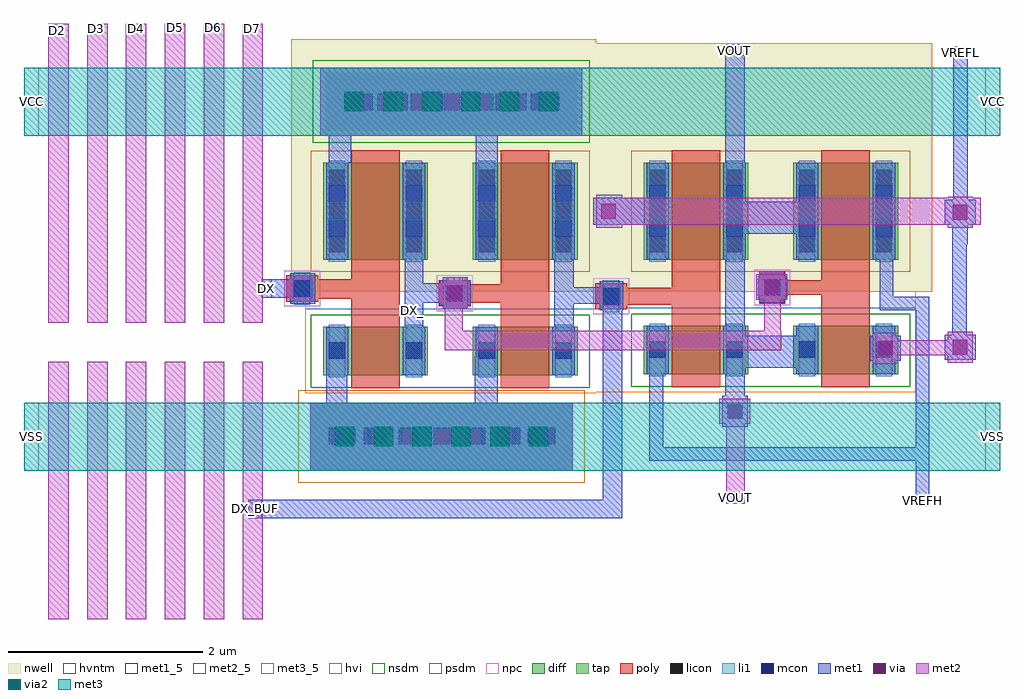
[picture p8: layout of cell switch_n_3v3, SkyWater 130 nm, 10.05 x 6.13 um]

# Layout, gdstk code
import gdstk
lib = gdstk.Library(unit=1e-6, precision=1e-09)
def R(c, l, rs):  # rectangles x0, y0, x1, y1
    for r in rs: c.add(gdstk.rectangle(r[:2], r[2:], *l))
def A(c, l, x, y, w, h, nx, ny, dx, dy):  # array of equal rectangles
    R(c, l, [(x+i*dx, y+j*dy, x+i*dx+w, y+j*dy+h) for i in range(nx) for j in range(ny)])
nwell = (64, 20)
diff = (65, 20)
tap = (65, 44)
poly = (66, 20)
licon = (66, 44)
li1 = (67, 20)
mcon = (67, 44)
met1_5 = (68, 5)
met1 = (68, 20)
via = (68, 44)
met2_5 = (69, 5)
met2 = (69, 20)
via2 = (69, 44)
met3_5 = (70, 5)
met3 = (70, 20)
hvi = (75, 20)
nsdm = (93, 44)
psdm = (94, 20)
npc = (95, 20)
hvntm = (125, 20)

switch_n_3v3 = lib.new_cell('switch_n_3v3')
R(switch_n_3v3, nwell, [(-31.91,-1.58,-25.31,0.98), (-31.91,0.98,-28.77,1.02)])
R(switch_n_3v3, diff, [(-31.58,-2.44,-30.5,-1.94), (-30.04,-2.44,-28.96,-1.94), (-28.28,-2.43,-27.2,-1.93), (-26.74,-2.43,-25.66,-1.93), (-31.58,-1.25,-30.5,-0.25), (-30.04,-1.25,-28.96,-0.25), (-28.28,-1.25,-27.2,-0.25), (-26.74,-1.25,-25.66,-0.25)])
R(switch_n_3v3, tap, [(-31.71,-3.42,-29.01,-2.72), (-31.56,0.08,-28.96,0.68)])
R(switch_n_3v3, poly, [(-31.29,-2.57,-30.79,-1.65), (-29.75,-2.57,-29.25,-1.69), (-27.99,-2.56,-27.49,-1.71), (-26.45,-2.56,-25.95,-1.61), (-28.78,-1.76,-28.45,-1.71), (-30.39,-1.73,-30.06,-1.69), (-28.78,-1.71,-27.49,-1.54), (-27.09,-1.7,-26.82,-1.61), (-30.39,-1.69,-29.25,-1.5), (-31.96,-1.68,-31.63,-1.65), (-31.96,-1.65,-30.79,-1.45), (-27.09,-1.61,-25.95,-1.46), (-28.78,-1.54,-28.45,-1.49), (-27.99,-1.54,-27.49,-0.12), (-30.39,-1.5,-30.06,-1.46), (-29.75,-1.5,-29.25,-0.12), (-27.09,-1.46,-26.82,-1.37), (-26.45,-1.46,-25.95,-0.12), (-31.96,-1.45,-31.63,-1.41), (-31.29,-1.45,-30.79,-0.12)])
A(switch_n_3v3, licon, -31.46, -3.15, 0.17, 0.17, 7, 1, 0.34, 0)
A(switch_n_3v3, licon, -31.52, -1.17, 0.17, 0.17, 1, 3, 0, 0.34)
A(switch_n_3v3, licon, -30.73, -1.17, 0.17, 0.17, 1, 3, 0, 0.34)
A(switch_n_3v3, licon, -29.98, -1.17, 0.17, 0.17, 1, 3, 0, 0.34)
A(switch_n_3v3, licon, -29.19, -1.17, 0.17, 0.17, 1, 3, 0, 0.34)
A(switch_n_3v3, licon, -28.22, -1.17, 0.17, 0.17, 1, 3, 0, 0.34)
A(switch_n_3v3, licon, -27.43, -1.17, 0.17, 0.17, 1, 3, 0, 0.34)
A(switch_n_3v3, licon, -26.68, -1.17, 0.17, 0.17, 1, 3, 0, 0.34)
A(switch_n_3v3, licon, -25.89, -1.17, 0.17, 0.17, 1, 3, 0, 0.34)
A(switch_n_3v3, licon, -31.36, 0.29, 0.17, 0.17, 7, 1, 0.34, 0)
R(switch_n_3v3, licon, [(-31.52,-2.27,-31.35,-2.1), (-30.73,-2.27,-30.56,-2.1), (-29.98,-2.27,-29.81,-2.1), (-29.19,-2.27,-29.02,-2.1), (-28.22,-2.26,-28.05,-2.09), (-27.43,-2.26,-27.26,-2.09), (-26.68,-2.26,-26.51,-2.09), (-25.89,-2.26,-25.72,-2.09), (-28.7,-1.71,-28.53,-1.54), (-30.31,-1.68,-30.14,-1.51), (-31.88,-1.63,-31.71,-1.46), (-27.04,-1.62,-26.87,-1.45)])
R(switch_n_3v3, li1, [(-31.71,-3.42,-29.01,-2.72), (-31.52,-2.46,-31.35,-1.92), (-30.73,-2.46,-30.56,-1.92), (-29.98,-2.46,-29.81,-1.92), (-29.19,-2.46,-29.02,-1.92), (-28.22,-2.45,-28.05,-1.91), (-27.43,-2.45,-27.26,-1.91), (-26.68,-2.45,-26.51,-1.91), (-25.89,-2.45,-25.72,-1.91), (-28.7,-1.79,-28.53,-1.71), (-30.31,-1.76,-30.14,-1.69), (-31.88,-1.71,-31.71,-1.64), (-28.7,-1.71,-28.52,-1.53), (-30.32,-1.69,-30.12,-1.49), (-31.89,-1.64,-31.69,-1.45), (-27.12,-1.62,-26.79,-1.45), (-28.7,-1.53,-28.53,-1.46), (-30.31,-1.49,-30.14,-1.43), (-31.88,-1.45,-31.71,-1.38), (-31.52,-1.27,-31.35,-0.23), (-30.73,-1.27,-30.56,-0.23), (-29.98,-1.27,-29.81,-0.23), (-29.19,-1.27,-29.02,-0.23), (-28.22,-1.27,-28.05,-0.23), (-27.43,-1.27,-27.26,-0.23), (-26.68,-1.27,-26.51,-0.23), (-25.89,-1.27,-25.72,-0.23), (-31.61,0.03,-28.91,0.73)])
A(switch_n_3v3, mcon, -31.52, -3.15, 0.17, 0.17, 7, 1, 0.36, 0)
A(switch_n_3v3, mcon, -31.24, 0.29, 0.17, 0.17, 6, 1, 0.36, 0)
R(switch_n_3v3, mcon, [(-31.52,-2.27,-31.35,-2.1), (-30.73,-2.27,-30.56,-2.1), (-29.98,-2.27,-29.81,-2.1), (-29.19,-2.27,-29.02,-2.1), (-28.22,-2.26,-28.05,-2.09), (-27.43,-2.26,-27.26,-2.09), (-26.68,-2.26,-26.51,-2.09), (-25.89,-2.26,-25.72,-2.09), (-28.7,-1.71,-28.53,-1.54), (-30.31,-1.68,-30.14,-1.51), (-31.88,-1.63,-31.71,-1.46), (-27.04,-1.62,-26.87,-1.45), (-31.52,-1.01,-31.35,-0.84), (-30.73,-1.01,-30.56,-0.84), (-29.98,-1.01,-29.81,-0.84), (-29.19,-1.01,-29.02,-0.84), (-28.22,-1.01,-28.05,-0.84), (-27.43,-1.01,-27.26,-0.84), (-26.68,-1.01,-26.51,-0.84), (-25.89,-1.01,-25.72,-0.84), (-31.52,-0.65,-31.35,-0.48), (-30.73,-0.65,-30.56,-0.48), (-29.98,-0.65,-29.81,-0.48), (-29.19,-0.65,-29.02,-0.48), (-28.22,-0.65,-28.05,-0.48), (-27.43,-0.65,-27.26,-0.48), (-26.68,-0.65,-26.51,-0.48), (-25.89,-0.65,-25.72,-0.48)])
R(switch_n_3v3, met1_5, [(-32.35,-3.91,-32.21,-3.72), (-25.48,-3.79,-25.34,-3.67), (-32.21,-1.64,-32.11,-1.45), (-25.09,0.83,-24.94,0.93), (-27.44,0.85,-27.24,0.97)])
R(switch_n_3v3, met1, [(-32.35,-3.91,-28.5,-3.72), (-25.48,-3.79,-25.34,-3.32), (-28.7,-3.72,-28.5,-1.77), (-31.71,-3.42,-29.01,-2.72), (-28.22,-3.32,-25.34,-3.18), (-28.22,-3.18,-28.08,-2.43), (-25.48,-3.18,-25.34,-1.77), (-27.47,-2.97,-27.21,-2.65), (-31.55,-2.72,-31.33,-2.44), (-30.02,-2.72,-29.78,-2.25), (-27.44,-2.65,-27.24,-2.43), (-31.55,-2.44,-31.32,-1.94), (-30.76,-2.44,-30.53,-1.94), (-29.22,-2.44,-28.99,-1.94), (-28.25,-2.43,-28.02,-1.93), (-27.46,-2.43,-27.23,-2.36), (-26.71,-2.43,-26.48,-2.36), (-25.92,-2.43,-25.69,-2.29), (-27.46,-2.36,-26.48,-2.03), (-25.95,-2.29,-25.63,-2.03), (-25.18,-2.28,-24.86,-2.02), (-30.01,-2.25,-29.78,-1.94), (-27.46,-2.03,-27.23,-1.93), (-26.71,-2.03,-26.48,-1.93), (-25.92,-2.03,-25.69,-1.93), (-25.1,-2.02,-24.95,-1.09), (-30.74,-1.94,-30.55,-1.69), (-29.2,-1.94,-29,-1.7), (-27.44,-1.93,-27.24,-1.25), (-28.73,-1.77,-28.49,-1.7), (-25.85,-1.77,-25.34,-1.63), (-30.35,-1.75,-30.09,-1.72), (-30.38,-1.72,-30.06,-1.69), (-31.92,-1.7,-31.66,-1.64), (-29.2,-1.7,-28.49,-1.53), (-30.74,-1.69,-30.06,-1.49), (-27.09,-1.69,-26.83,-1.65), (-27.1,-1.65,-26.81,-1.42), (-32.21,-1.64,-31.66,-1.45), (-25.85,-1.63,-25.71,-1.25), (-29.2,-1.53,-29,-1.25), (-28.73,-1.53,-28.49,-1.47), (-30.74,-1.49,-30.55,-1.25), (-30.38,-1.49,-30.06,-1.46), (-30.35,-1.46,-30.09,-1.43), (-31.92,-1.45,-31.66,-1.39), (-27.09,-1.42,-26.83,-1.37), (-31.55,-1.25,-31.32,-0.25), (-30.76,-1.25,-30.53,-0.25), (-30.01,-1.25,-29.78,0.03), (-29.22,-1.25,-28.99,-0.25), (-28.25,-1.25,-28.02,-0.89), (-27.46,-1.25,-27.23,-0.98), (-26.71,-1.25,-26.48,-0.98), (-25.92,-1.25,-25.69,-0.25), (-25.1,-1.09,-24.94,-0.89), (-27.46,-0.98,-26.48,-0.65), (-28.8,-0.89,-28.02,-0.61), (-25.18,-0.89,-24.86,-0.63), (-27.46,-0.65,-27.23,-0.25), (-26.71,-0.65,-26.48,-0.25), (-25.09,-0.63,-24.94,0.95), (-28.25,-0.61,-28.02,-0.25), (-31.52,-0.25,-31.29,0.03), (-27.44,-0.25,-27.24,0.97), (-31.61,0.03,-28.91,0.73)])
A(switch_n_3v3, via, -31.395, -3.145, 0.15, 0.15, 7, 1, 0.32, 0)
A(switch_n_3v3, via, -31.295, 0.305, 0.15, 0.15, 7, 1, 0.32, 0)
R(switch_n_3v3, via, [(-27.415,-2.885,-27.265,-2.735), (-25.865,-2.235,-25.715,-2.085), (-25.095,-2.225,-24.945,-2.075), (-30.295,-1.665,-30.145,-1.515), (-27.035,-1.605,-26.885,-1.455), (-25.095,-0.835,-24.945,-0.685), (-28.715,-0.825,-28.565,-0.675)])
R(switch_n_3v3, met2_5, [(-27.43,-3.76,-27.24,-3.64)])
A(switch_n_3v3, met2, -34.41, -4.95, 0.21, 2.65, 6, 1, 0.4, 0)
A(switch_n_3v3, met2, -34.41, -1.9, 0.21, 3.08, 6, 1, 0.4, 0)
R(switch_n_3v3, met2, [(-27.43,-3.76,-27.24,-2.94), (-31.71,-3.42,-29.01,-2.72), (-27.5,-2.94,-27.18,-2.68), (-25.92,-2.32,-25.66,-2.23), (-25.15,-2.31,-24.89,-2.23), (-25.92,-2.23,-24.89,-2.08), (-30.33,-2.18,-26.86,-1.98), (-25.92,-2.08,-25.66,-2), (-25.15,-2.08,-24.89,-1.99), (-30.33,-1.98,-30.14,-1.75), (-27.04,-1.98,-26.87,-1.66), (-30.35,-1.75,-30.09,-1.43), (-27.12,-1.66,-26.8,-1.4), (-28.77,-0.92,-28.5,-0.89), (-25.15,-0.92,-24.89,-0.89), (-28.77,-0.89,-24.81,-0.61), (-28.77,-0.61,-28.5,-0.58), (-25.15,-0.61,-24.89,-0.6), (-31.61,0.03,-28.91,0.73)])
A(switch_n_3v3, via2, -31.46, -3.17, 0.2, 0.2, 6, 1, 0.4, 0)
A(switch_n_3v3, via2, -31.36, 0.28, 0.2, 0.2, 6, 1, 0.4, 0)
R(switch_n_3v3, met3_5, [(-34.66,-3.42,-34.51,-2.72), (-24.76,-3.42,-24.61,-2.72), (-34.66,0.03,-34.51,0.73), (-24.76,0.03,-24.61,0.73)])
R(switch_n_3v3, met3, [(-34.66,-3.42,-24.61,-2.72), (-34.66,0.03,-24.61,0.73)])
R(switch_n_3v3, hvi, [(-31.765,-2.625,-28.775,-2.615), (-31.765,-2.615,-25.475,-1.58), (-31.91,-1.58,-25.31,0.98), (-31.91,0.98,-28.77,1.02)])
R(switch_n_3v3, nsdm, [(-31.705,-2.565,-28.835,-1.815), (-28.405,-2.555,-25.535,-1.805), (-31.685,-0.045,-28.835,0.805)])
R(switch_n_3v3, psdm, [(-31.835,-3.545,-28.885,-2.595), (-31.705,-1.375,-28.835,-0.125), (-28.405,-1.375,-25.535,-0.125)])
R(switch_n_3v3, npc, [(-28.8,-1.81,-28.43,-1.44), (-30.41,-1.78,-30.04,-1.41), (-31.98,-1.73,-31.61,-1.36), (-27.14,-1.72,-26.77,-1.35)])
R(switch_n_3v3, hvntm, [(-31.765,-2.625,-28.775,-2.615), (-31.765,-2.615,-25.475,-1.755), (-28.465,-1.755,-25.475,-1.745)])
switch_n_3v3.add(gdstk.Label('DX', (-32.16,-1.545), layer=68, texttype=5))
switch_n_3v3.add(gdstk.Label('DX_BUF', (-32.28,-3.815), layer=68, texttype=5))
switch_n_3v3.add(gdstk.Label('VCC', (-24.685,0.38), layer=70, texttype=5))
switch_n_3v3.add(gdstk.Label('VSS', (-24.685,-3.07), layer=70, texttype=5))
switch_n_3v3.add(gdstk.Label('VSS', (-34.585,-3.07), layer=70, texttype=5))
switch_n_3v3.add(gdstk.Label('VCC', (-34.585,0.38), layer=70, texttype=5))
switch_n_3v3.add(gdstk.Label('D2', (-34.31,1.11), layer=69, texttype=5))
switch_n_3v3.add(gdstk.Label('D3', (-33.91,1.13), layer=69, texttype=5))
switch_n_3v3.add(gdstk.Label('D4', (-33.5,1.13), layer=69, texttype=5))
switch_n_3v3.add(gdstk.Label('D5', (-33.1,1.14), layer=69, texttype=5))
switch_n_3v3.add(gdstk.Label('D6', (-32.71,1.14), layer=69, texttype=5))
switch_n_3v3.add(gdstk.Label('D7', (-32.31,1.13), layer=69, texttype=5))
switch_n_3v3.add(gdstk.Label('VOUT', (-27.34,0.91), layer=68, texttype=5))
switch_n_3v3.add(gdstk.Label('VOUT', (-27.335,-3.7), layer=69, texttype=5))
switch_n_3v3.add(gdstk.Label('DX_', (-30.66,-1.77), layer=68, texttype=5))
switch_n_3v3.add(gdstk.Label('VREFH', (-25.41,-3.73), layer=68, texttype=5))
switch_n_3v3.add(gdstk.Label('VREFL', (-25.015,0.88), layer=68, texttype=5))

lib.write_gds('switch_n_3v3.gds')
